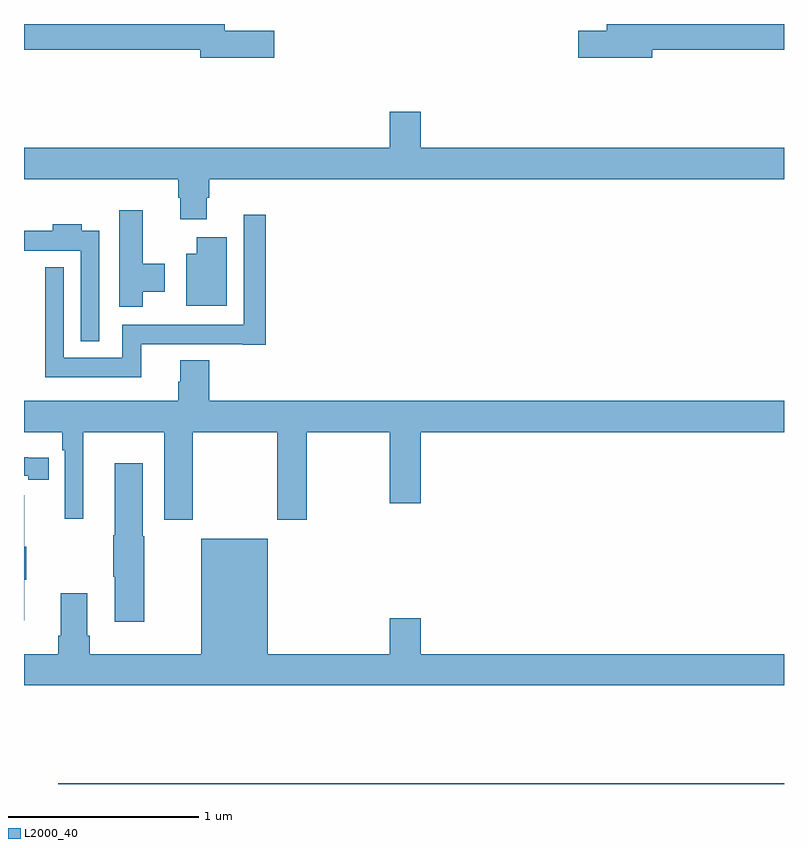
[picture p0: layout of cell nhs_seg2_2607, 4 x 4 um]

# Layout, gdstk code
import gdstk
lib = gdstk.Library(unit=1e-6, precision=1e-09)
def R(c, l, rs):  # rectangles x0, y0, x1, y1
    for r in rs: c.add(gdstk.rectangle(r[:2], r[2:], *l))
def P(c, l, *ps):  # polygons
    for p in ps: c.add(gdstk.Polygon(p, *l))
L2000_40 = (2000, 40)

nhs_seg2_2607 = lib.new_cell('nhs_seg2_2607')
R(nhs_seg2_2607, L2000_40, [(247.181,629.8,251,629.804)])
P(nhs_seg2_2607, L2000_40, [(248.317,633.764),(248.056,633.764),(248.056,633.8),(247,633.8),(247,633.664),(247.928,633.664),(247.928,633.622),(248.317,633.622)],
  [(250.306,633.664),(251,633.664),(251,633.8),(250.067,633.8),(250.067,633.764),(249.918,633.764),(249.918,633.622),(250.306,633.622)],
  [(247.963,632.886),(247.976,632.886),(247.976,632.984),(251,632.984),(251,633.148),(249.088,633.148),(249.088,633.337),(248.924,633.337),(248.924,633.148),(247,633.148),(247,632.984),(247.811,632.984),(247.811,632.886),(247.823,632.886),(247.823,632.772),(247.963,632.772)],
  [(247.624,632.39),(247.741,632.39),(247.741,632.538),(247.624,632.538),(247.624,632.821),(247.502,632.821),(247.502,632.313),(247.624,632.313)],
  [(247.616,632.114),(248.15,632.114),(248.15,632.112),(248.273,632.112),(248.273,632.797),(248.157,632.797),(248.157,632.218),(247.518,632.218),(247.518,632.044),(247.209,632.044),(247.209,632.521),(247.112,632.521),(247.112,631.94),(247.616,631.94)],
  [(247.395,632.713),(247.303,632.713),(247.303,632.746),(247.151,632.746),(247.151,632.713),(247,632.713),(247,632.606),(247.299,632.606),(247.299,632.129),(247.395,632.129)],
  [(248.068,632.677),(247.91,632.677),(247.91,632.59),(247.853,632.59),(247.853,632.318),(248.068,632.318)],
  [(247.887,631.652),(248.332,631.652),(248.332,631.191),(248.487,631.191),(248.487,631.652),(248.924,631.652),(248.924,631.278),(249.088,631.278),(249.088,631.652),(251,631.652),(251,631.816),(247.976,631.816),(247.976,632.029),(247.823,632.029),(247.823,631.917),(247.811,631.917),(247.811,631.816),(247,631.816),(247,631.652),(247.202,631.652),(247.202,631.556),(247.215,631.556),(247.215,631.197),(247.312,631.197),(247.312,631.652),(247.739,631.652),(247.739,631.191),(247.887,631.191)],
  [(247.13,631.518),(247.022,631.518),(247.022,631.519),(247,631.519),(247,631.422),(247.022,631.422),(247.022,631.402),(247.13,631.402)],
  [(247.632,631.103),(247.624,631.103),(247.624,631.489),(247.478,631.489),(247.478,631.109),(247.471,631.109),(247.471,630.892),(247.478,630.892),(247.478,630.654),(247.632,630.654)],
  [(247.001,630.875),(247.012,630.875),(247.012,631.049),(247.001,631.049),(247.001,631.321),(247,631.321),(247,630.663),(247.001,630.663)],
  [(251,630.484),(249.088,630.484),(249.088,630.673),(248.924,630.673),(248.924,630.484),(248.284,630.484),(248.284,631.09),(247.934,631.09),(247.934,630.484),(247.346,630.484),(247.346,630.58),(247.333,630.58),(247.333,630.805),(247.193,630.805),(247.193,630.58),(247.181,630.58),(247.181,630.484),(247,630.484),(247,630.32),(251,630.32)])

lib.write_gds('nhs_seg2_2607.gds')
